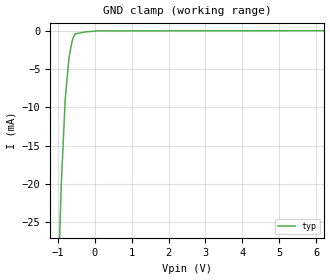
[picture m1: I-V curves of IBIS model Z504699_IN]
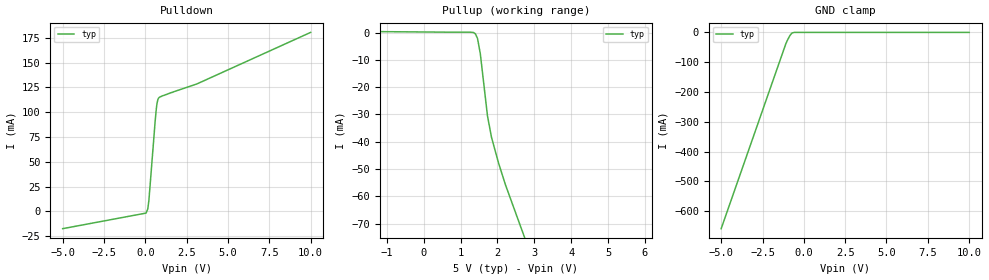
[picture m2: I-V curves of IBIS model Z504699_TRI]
| YOU ARE ONLY AUTHORIZED TO USE THIS SOFTWARE
| ACCORDING TO LICENSOR'S LICENSE RESTRICTIONS.
[IBIS Ver] 3.1
[File Name] sn74ls541dw.ibs
[File Rev] 2.0
[Source] Measured and created by ICX Technology
[Date] Friday 7/14/00 9:08:20 AM
[Copyright]
| (C) COPYRIGHT 1993-2000
| MENTOR GRAPHICS CORPORATION
| ICX STANDARD LIBRARY, ICX PROJECT MODELING,
| ICX CUSTOM MODELING, ICX VENDOR MODEL
| ALL RIGHTS RESERVED.
| THE FOLLOWING ARE TRADEMARKS OR SERVICE MARKS OF
| MENTOR GRAPHICS CORPORATION:ICX (R), ICX STANDARD
| LIBRARY(R), ICX PROJECT MODELING(R), ICX CUSTOM
| MODELING(R), qualityIBIS(TM), MODELVIEWER(TM),
| AND MODELEDITOR(TM)
| ALL COPIES OF SOFTWARE, INCLUDING BUT NOT LIMITED TO
| ANY MODIFICATIONS, ENHANCEMENTS OR DERIVATIVE WORKS,
| MUST CONTAIN ALL MENTOR GRAPHICS CORPORATION'S
| NOTICES AND LEGENDS, INCLUDING THOSE EMBEDDED IN
| SOFTWARE AND THOSE AFFIXED TO SOFTWARE MEDIUM
| AND CONTAINER, AS RECEIVED FROM MENTOR GRAPHICS
| CORPORATION.
|  ZAP Model Builder 2.7
[Component] SN74LS541DW
[Manufacturer] OnSemiconductor
[Package]
| variable   typ   min   max
R_pkg  .178ohms NA NA
L_pkg  4.43nH NA NA
C_pkg  .62pF NA NA
[Pin] signal_name  model_name  R_pin  L_pin C_pin
1 _G1 Z504699_IN .186 5.37n .68p
2 A0 Z504699_IN .182 4.89n .65p
3 A1 Z504699_IN .178 4.42n .62p
4 A2 Z504699_IN .174 3.96n .59p
5 A3 Z504699_IN .17 3.51n .56p
6 A4 Z504699_IN .17 3.51n .56p
7 A5 Z504699_IN .174 3.96n .59p
8 A6 Z504699_IN .178 4.42n .62p
9 A7 Z504699_IN .182 4.89n .65p
10 GND GND .186 5.37n .68p
11 Y7 Z504699_TRI .186 5.37n .68p
12 Y6 Z504699_TRI .182 4.89n .65p
13 Y5 Z504699_TRI .178 4.42n .62p
14 Y4 Z504699_TRI .174 3.96n .59p
15 Y3 Z504699_TRI .17 3.51n .56p
16 Y2 Z504699_TRI .17 3.51n .56p
17 Y1 Z504699_TRI .174 3.96n .59p
18 Y0 Z504699_TRI .178 4.42n .62p
19 _G2 Z504699_IN .182 4.89n .65p
20 VCC POWER .186 5.37n .68p
| Models and submodels in the file (2): Z504699_IN (Input), Z504699_TRI (3-state)
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| (C) COPYRIGHT 1993-2000
| MENTOR GRAPHICS CORPORATION
| ICX STANDARD LIBRARY, ICX PROJECT MODELING,
| ICX CUSTOM MODELING, ICX VENDOR MODEL
| ALL RIGHTS RESERVED.
| THE FOLLOWING ARE TRADEMARKS OR SERVICE MARKS OF
| MENTOR GRAPHICS CORPORATION:ICX (R), ICX STANDARD
| LIBRARY(R), ICX PROJECT MODELING(R), ICX CUSTOM
| MODELING(R), qualityIBIS(TM), MODELVIEWER(TM),
| AND MODELEDITOR(TM)
| ALL COPIES OF SOFTWARE, INCLUDING BUT NOT LIMITED TO
| ANY MODIFICATIONS, ENHANCEMENTS OR DERIVATIVE WORKS,
| MUST CONTAIN ALL MENTOR GRAPHICS CORPORATION'S
| NOTICES AND LEGENDS, INCLUDING THOSE EMBEDDED IN
| SOFTWARE AND THOSE AFFIXED TO SOFTWARE MEDIUM
| AND CONTAINER, AS RECEIVED FROM MENTOR GRAPHICS
| CORPORATION.
| Model Application Version 1.89 2/18/99.
[Model] Z504699_IN
Model_type Input
Vinl = 800.0mV
Vinh = 2.000V
C_comp 4.000pF NA NA
| variable typ   min   max
[Voltage Range] 5.000V NA NA
[GND Clamp Reference] 0.000V NA NA
[POWER Clamp Reference] 5.000V NA NA
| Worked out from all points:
|   GND clamp passes 1 mA (typ) near -0.59 V on its own axis
[GND Clamp]
-5V       -651mA     NA         NA
-902.6mV  -20.05mA   NA         NA
-795.8mV  -8.94mA    NA         NA
-693.4mV  -3.521mA   NA         NA
-613.1mV  -1.424mA   NA         NA
-580.8mV  -896.6uA   NA         NA
-527.3mV  -415.8uA   NA         NA
-263.7mV  -154.2uA   NA         NA
87.89mV   -13.57uA   NA         NA
10V       26.24uA    NA         NA
[POWER Clamp]
-5V       0A         NA         NA
10V       0A         NA         NA
| (C) COPYRIGHT 1993-2000
| MENTOR GRAPHICS CORPORATION
| ICX STANDARD LIBRARY, ICX PROJECT MODELING,
| ICX CUSTOM MODELING, ICX VENDOR MODEL
| ALL RIGHTS RESERVED.
| THE FOLLOWING ARE TRADEMARKS OR SERVICE MARKS OF
| MENTOR GRAPHICS CORPORATION:ICX (R), ICX STANDARD
| LIBRARY(R), ICX PROJECT MODELING(R), ICX CUSTOM
| MODELING(R), qualityIBIS(TM), MODELVIEWER(TM),
| AND MODELEDITOR(TM)
| ALL COPIES OF SOFTWARE, INCLUDING BUT NOT LIMITED TO
| ANY MODIFICATIONS, ENHANCEMENTS OR DERIVATIVE WORKS,
| MUST CONTAIN ALL MENTOR GRAPHICS CORPORATION'S
| NOTICES AND LEGENDS, INCLUDING THOSE EMBEDDED IN
| SOFTWARE AND THOSE AFFIXED TO SOFTWARE MEDIUM
| AND CONTAINER, AS RECEIVED FROM MENTOR GRAPHICS
| CORPORATION.
| Model Application Version 1.89 2/18/99.
[Model] Z504699_TRI
Model_type 3-state
Vref=588.0mV
Rref=588.5ohms
Cref=45.00pF
Vmeas=1.300V
C_comp 8.000pF NA NA
| variable typ   min   max
[Voltage Range] 5.000V NA NA
[POWER Clamp Reference] 5.000V NA NA
[Pullup Reference] 5.000V NA NA
[Pulldown Reference] 0.000V NA NA
[GND Clamp Reference] 0.000V NA NA
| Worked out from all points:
|   slope of the pulldown table from 0 to 0.75 V, typ, clamps not added: 6.58 ohm
|   slope of the pullup table from 0 to 0.75 V, typ, clamps not added: 11.5 kohm
|   GND clamp passes 1 mA (typ) near -0.64 V on its own axis
[GND Clamp]
-5V       -658.4mA   NA         NA
-1.099V   -39.89mA   NA         NA
-1.011V   -28.31mA   NA         NA
-849.6mV  -11.38mA   NA         NA
-722.7mV  -2.249mA   NA         NA
-578.2mV  0A         NA         NA
10V       0A         NA         NA
[Pulldown]
-5V       -17.52mA   NA         NA
49.25mV   -1.662mA   NA         NA
150.6mV   2.435mA    NA         NA
218.2mV   11.27mA    NA         NA
605.7mV   93.02mA    NA         NA
673.9mV   104.8mA    NA         NA
708.8mV   109mA      NA         NA
763.5mV   113mA      NA         NA
864.3mV   115.2mA    NA         NA
3.12V     128.5mA    NA         NA
10V       180.5mA    NA         NA
[Pullup]
-5V       734.4uA    NA         NA
603.5mV   127.9uA    NA         NA
1.241V    127.9uA    NA         NA
1.343V    38.38uA    NA         NA
1.401V    -478.7uA   NA         NA
1.459V    -2.169mA   NA         NA
1.535V    -7.792mA   NA         NA
1.729V    -30.54mA   NA         NA
1.837V    -38.3mA    NA         NA
2.026V    -47.63mA   NA         NA
2.217V    -55.78mA   NA         NA
10V       -344.9mA   NA         NA
[POWER Clamp]
-5V       0A         NA         NA
10V       0A         NA         NA
[Ramp]
| variable typ min max
dV/dt_r 2.034/5.587n NA NA
dV/dt_f 2.034/1.625n NA NA
R_load = 500.0Ohms
